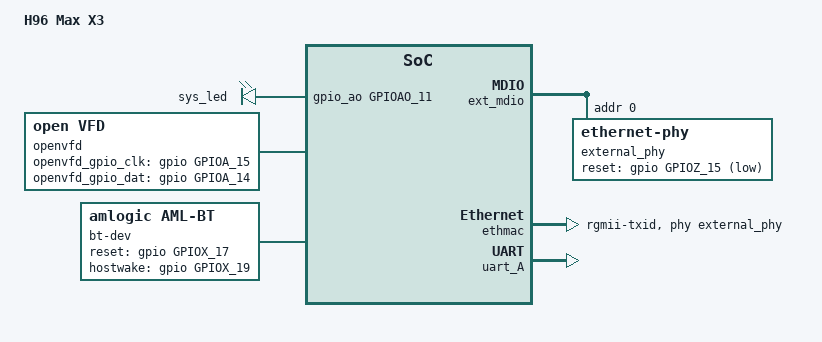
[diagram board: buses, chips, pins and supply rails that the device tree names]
// SPDX-License-Identifier: (GPL-2.0+ OR MIT)
/*
 * H96 Max X3 (Shenzhen Haochuangyi), Amlogic S905X3.
 *
 * Board description after mainline meson-sm1-h96-max.dts
 * (Copyright (c) 2020 Christian Hewitt <christianshewitt@gmail.com>)
 * and the stock DTB of the box (amlogic-dt-id "sm1_s905x3_u215").
 */

/dts-v1/;

#include "sm1_s905x3_common.dtsi"
#include "remote-h96maxx3.dtsi"

/ {
	model = "H96 Max X3";
	amlogic-dt-id = "sm1_h96maxx3";
	compatible = "sm1_h96maxx3";

	/* 4 GiB, usable range of the S905X3 4 GiB layout */
	memory@00000000 {
		device_type = "memory";
		linux,usable-memory = <0x0 0x000000 0x0 0xf5700000>;
	};

	gpioleds {
		compatible = "gpio-leds";
		status = "okay";

		sys_led {
			label="sys_led";
			gpios=<&gpio_ao GPIOAO_11 GPIO_ACTIVE_HIGH>;
			default-state ="default-on";
		};
	};

	/*
	 * Front panel clock: FD6551 with a 4-digit LED display (OpenVFD
	 * display type 0x00, controller 0x06 "FD6551"), as in the openvfd
	 * node of the stock DTB. The FD6551 is a two-wire part without STB,
	 * wired to the I2C3 pins: DAT GPIOA_14, CLK GPIOA_15.
	 */
	openvfd {
		compatible = "open,vfd";
		dev_name = "openvfd";
		status = "okay";
		openvfd_gpio_clk = <&gpio GPIOA_15 GPIO_ACTIVE_HIGH>;
		openvfd_gpio_dat = <&gpio GPIOA_14 GPIO_ACTIVE_HIGH>;
		openvfd_chars = [00 04 03 02 01];
		openvfd_dot_bits = [00 01 03 02 04 05 06];
		/* type, reserved, flags, controller (little endian) */
		openvfd_display_type = <0x06000000>;
	};

	/*
	 * Bluetooth of the SDIO WiFi module: shutdown on GPIOX_17 as in
	 * mainline, host wake on GPIOX_19 as in the stock bt-dev node.
	 */
	bt-dev {
		compatible = "amlogic, aml-bt";
		dev_name = "bt-dev";
		status = "okay";
		reset-gpios = <&gpio GPIOX_17 GPIO_ACTIVE_HIGH>;
		hostwake-gpios = <&gpio GPIOX_19 GPIO_ACTIVE_HIGH>;
	};
};

/* The stock sound card has no AV output mute GPIO */
&{/auge_sound} {
	/delete-property/ avout_mute-gpios;
};

&ext_mdio {
	external_phy: ethernet-phy@0 {
		/* Realtek RTL8211F (0x001cc916) */
		reg = <0>;
		max-speed = <1000>;

		reset-assert-us = <10000>;
		reset-deassert-us = <80000>;
		reset-gpios = <&gpio GPIOZ_15 (GPIO_ACTIVE_LOW | GPIO_OPEN_DRAIN)>;
	};
};

/*
 * Mainline runs the RTL8211F with phy-mode "rgmii-txid" (TX delay from the
 * PHY) and an 800 ps RX delay in the MAC. The "amlogic,meson-axg-dwmac"
 * glue only takes 0 or 2000 ps from rx-internal-delay-ps, but mc_val and
 * cali_val are written to PRG_ETH0/PRG_ETH1 last, so set the registers
 * directly: mc_val is the stock 0x1621 with TXDLY (bits 6:5) cleared,
 * cali_val is CFG_RXCLK_DLY (bits 19:16) = 4 x 200 ps. The PHY interrupt
 * (GPIOZ_14) is left out, the PHY is polled.
 */
&ethmac {
	status = "okay";
	pinctrl-names = "default";
	pinctrl-0 = <&external_eth_pins>;
	phy-mode = "rgmii-txid";
	phy-handle = <&external_phy>;
	internal_phy = <2>;

	mc_val = <0x1601>;
	cali_val = <0x40000>;
	amlogic,tx-delay-ns = <0>;
};

/* uart_A (serial1 -> /dev/ttyS1) is the Bluetooth host controller */
&uart_A {
	status = "okay";
	uart_for_bt = <1>;
};

/* Both USB ports are type A host ports; the stock DTB runs them host only */
&dwc2_a {
	controller-type = <1>;
};

&usb3_phy_v2 {
	otg = <0>;
};
